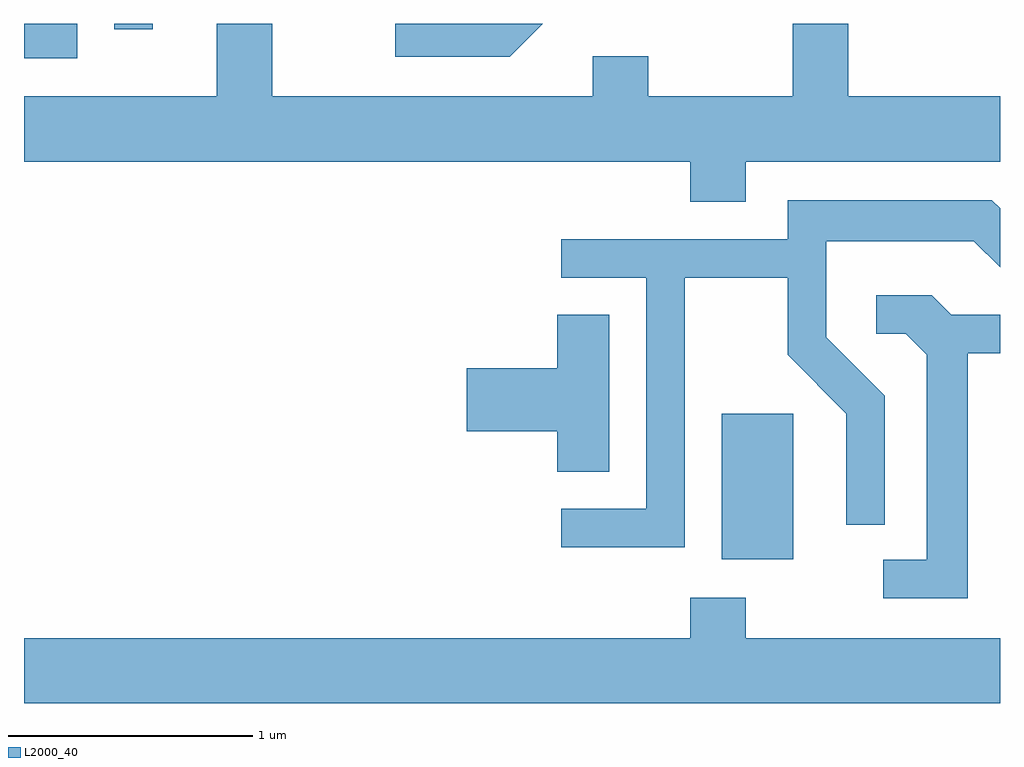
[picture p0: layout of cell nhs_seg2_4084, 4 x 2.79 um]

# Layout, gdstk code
import gdstk
lib = gdstk.Library(unit=1e-6, precision=1e-09)
def R(c, l, rs):  # rectangles x0, y0, x1, y1
    for r in rs: c.add(gdstk.rectangle(r[:2], r[2:], *l))
def P(c, l, *ps):  # polygons
    for p in ps: c.add(gdstk.Polygon(p, *l))
L2000_40 = (2000, 40)

nhs_seg2_4084 = lib.new_cell('nhs_seg2_4084')
R(nhs_seg2_4084, L2000_40, [(308.471,1015.606,308.764,1016.204), (305.611,1017.661,305.829,1017.802), (305.981,1017.778,306.139,1017.802)])
P(nhs_seg2_4084, L2000_40, [(308.569,1017.236),(309.611,1017.236),(309.611,1017.504),(308.989,1017.504),(308.989,1017.802),(308.761,1017.802),(308.761,1017.504),(308.169,1017.504),(308.169,1017.669),(307.941,1017.669),(307.941,1017.504),(306.629,1017.504),(306.629,1017.802),(306.401,1017.802),(306.401,1017.504),(305.611,1017.504),(305.611,1017.236),(308.341,1017.236),(308.341,1017.071),(308.569,1017.071)],
  [(307.737,1017.802),(307.133,1017.802),(307.133,1017.666),(307.602,1017.666)],
  [(308.319,1016.761),(308.741,1016.761),(308.741,1016.444),(308.981,1016.204),(308.981,1015.748),(309.139,1015.748),(309.139,1016.277),(308.899,1016.517),(308.899,1016.911),(309.504,1016.911),(309.611,1016.804),(309.611,1017.045),(309.577,1017.079),(308.741,1017.079),(308.741,1016.919),(307.813,1016.919),(307.813,1016.761),(308.161,1016.761),(308.161,1015.814),(307.813,1015.814),(307.813,1015.656),(308.319,1015.656)],
  [(309.479,1016.451),(309.611,1016.451),(309.611,1016.609),(309.412,1016.609),(309.332,1016.689),(309.103,1016.689),(309.103,1016.531),(309.224,1016.531),(309.311,1016.444),(309.311,1015.604),(309.133,1015.604),(309.133,1015.446),(309.479,1015.446)],
  [(308.009,1016.609),(307.796,1016.609),(307.796,1016.389),(307.426,1016.389),(307.426,1016.131),(307.796,1016.131),(307.796,1015.966),(308.009,1015.966)],
  [(309.611,1015.284),(308.569,1015.284),(308.569,1015.449),(308.341,1015.449),(308.341,1015.284),(305.611,1015.284),(305.611,1015.016),(309.611,1015.016)])

lib.write_gds('nhs_seg2_4084.gds')
